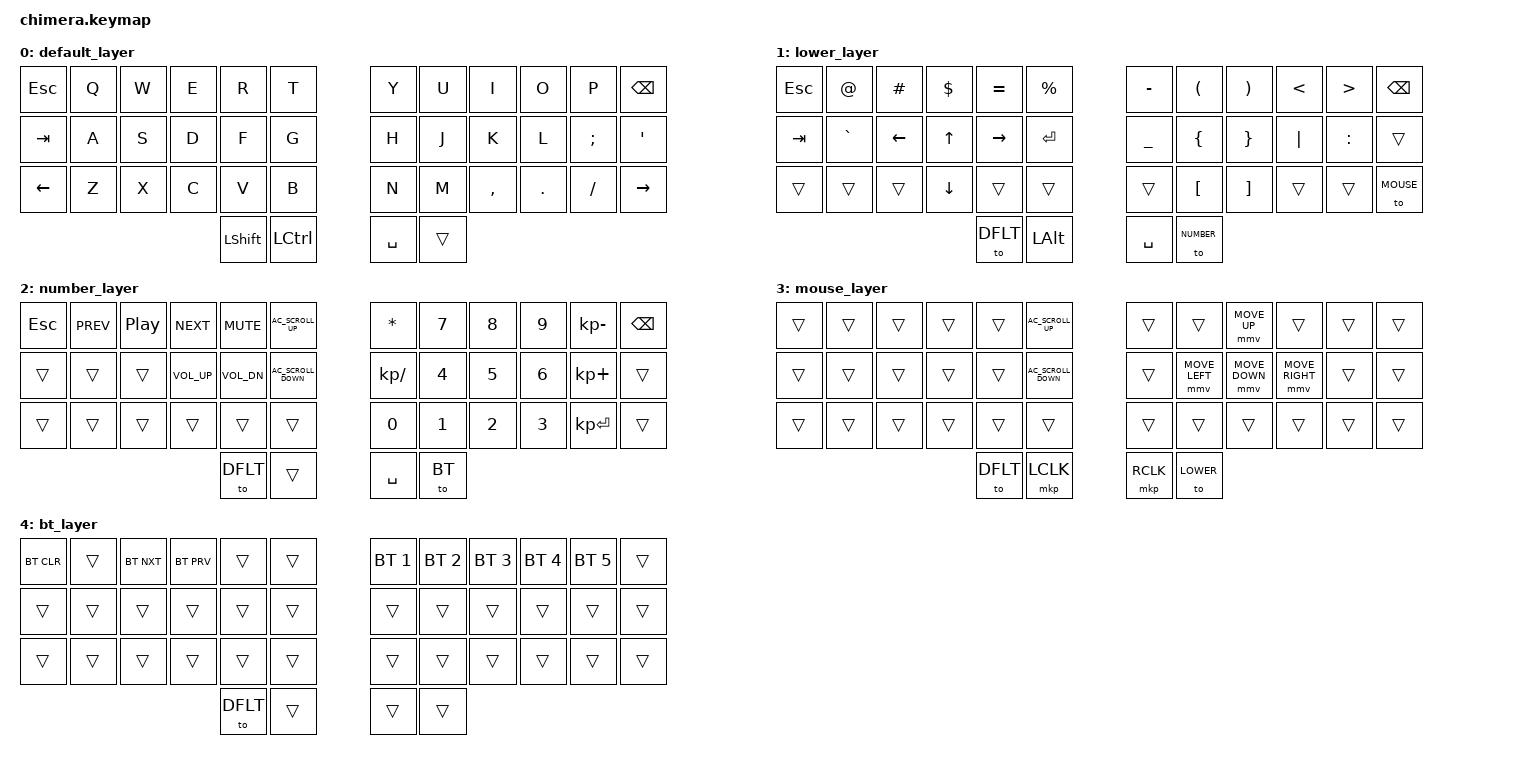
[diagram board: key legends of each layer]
/*
 * Copyright (c) 2020 The ZMK Contributors
 *
 * SPDX-License-Identifier: MIT
 */

#include <behaviors.dtsi>
#include <dt-bindings/zmk/keys.h>
#include <dt-bindings/zmk/bt.h>
#include <dt-bindings/zmk/outputs.h>
#include <dt-bindings/zmk/mouse.h>

#define DFLT    0
#define LOWER   1
#define NUMBER  2
#define MOUSE   3
#define BT      4


/ {
        keymap {
                compatible = "zmk,keymap";

                default_layer {
// -----------------------------------------------------------------------------------------
// |  ESC |  Q  |  W  |  E  |  R  |  T  |   |  Y  |  U   |  I  |  O  |  P  | BSPC |
// |  TAB |  A  |  S  |  D  |  F  |  G  |   |  H  |  J   |  K  |  L  |  ;  |  '   |
// | LEFT |  Z  |  X  |  C  |  V  |  B  |   |  N  |  M   |  ,  |  .  |  /  | RIGHT|
//                          | SHFT|CNTRL|   | SPC | L2  
                        bindings = <
   &kp ESC   &kp Q &kp W &kp E &kp R &kp T   &kp Y &kp U  &kp I     &kp O   &kp P    &kp BSPC
   &kp TAB &kp A &kp S &kp D &kp F &kp G   &kp H &kp J  &kp K     &kp L   &kp SEMI &kp SQT
   &kp LEFT &kp Z &kp X &kp C &kp V &kp B   &kp N &kp M  &kp COMMA &kp DOT &kp FSLH &kp RIGHT
                       &kp LSHFT &kp LCTRL   &kp SPACE &trans 
                        >;
                };
                lower_layer {
// -----------------------------------------------------------------------------------------
// |  ESC | ATSN| HASH| DLLR|EQUAL|PRCNT|   |MINUS| LPAR|RPAR |  LT |  GT | BSPC |
// |  TAB |GRAVE| LEFT|  UP |RIGHT| ENT |   |UNDER| LBRC|RBRC | PIPE|COLON|      |
// |      |     |     | DOWN|     |     |   |     | LBKT|RBKT |     |     | MOUSE|
//                          |  L1 | ALT |   | SPC |  L3 |
                        bindings = <
   &kp ESC    &kp AT   &kp HASH   &kp DLLR  &kp EQUAL   &kp PRCNT     &kp MINUS   &kp LPAR   &kp RPAR &kp LT  &kp GT &kp BSPC
   &kp TAB &kp GRAVE  &kp LEFT  &kp UP  &kp RIGHT  &kp ENTER  &kp UNDER  &kp LBRC &kp RBRC &kp PIPE &kp COLON &trans
   &trans  &trans       &trans   &kp DOWN       &trans    &trans   &trans   &kp LBKT   &kp RBKT &trans    &trans &to MOUSE
                                    &to DFLT     &kp LALT      &kp SPACE      &to NUMBER
                        >;
                };

                number_layer {
// -----------------------------------------------------------------------------------------
// |  ESC | PREV|  PP | NEXT| MUTE|S_UP |   |ASTRK|  7  |  8  |  9  |MINUS| BSPC |
// |      |     |     |VOLUP|VLDWN|S_DWN|   |SLASH|  4  |  5  |  6  | PLUS|      |
// |      |     |     |     |     |     |   |  0  |  1  |  2  |  3  | ENT |    |
//                          |  L1 |     |   | SPC |  L4 | 
                        bindings = <
   &kp ESC  &kp C_PREV  &kp C_PP  &kp C_NEXT  &kp C_MUTE &kp C_AC_SCROLL_UP  &kp ASTRK   &kp N7   &kp N8 &kp N9    &kp KP_MINUS &kp BSPC
   &trans  &trans  &trans  &kp C_VOL_UP  &kp C_VOL_DN &kp C_AC_SCROLL_DOWN  &kp KP_SLASH  &kp N4  &kp N5  &kp N6  &kp KP_PLUS &trans 
   &trans  &trans  &trans  &trans  &trans  &trans  &kp N0  &kp N1  &kp N2  &kp N3  &kp KP_ENTER  &trans
                                    &to DFLT     &trans       &kp SPACE      &to BT
                        >;
                };

                mouse_layer {
// -----------------------------------------------------------------------------------------
// |      |     |     |     |     |S_UP |   |     |     |M_UP |     |     |      |
// |      |     |     |     |     |S_DWN|   |     |M_LFT|M_DMN|M_RGH|     |      |
// |      |     |     |     |     |     |   |     |     |     |     |     |      |
//                          |  L1 |L_CLC|   |R_CLC|  L2 |
                        bindings = <
   &trans  &trans  &trans  &trans  &trans  &kp C_AC_SCROLL_UP  &trans  &trans  &mmv MOVE_UP  &trans  &trans &trans
   &trans  &trans  &trans  &trans  &trans  &kp C_AC_SCROLL_DOWN  &trans  &mmv MOVE_LEFT  &mmv MOVE_DOWN  &mmv MOVE_RIGHT  &trans &trans
   &trans  &trans  &trans  &trans  &trans  &trans  &trans  &trans  &trans  &trans  &trans  &trans
                                    &to DFLT     &mkp LCLK        &mkp RCLK     &to LOWER 
                        >;
                };

                bt_layer {
// -----------------------------------------------------------------------------------------
// |BT_CLR|     |BTNXT|BTPRV|     |     |   |  BT1|  BT2|  BT3|  BT4|  BT5|      |
// |      |     |     |     |     |     |   |     |     |     |     |     |      |
// |      |     |     |     |     |     |   |     |     |     |     |     |      |
//                          |     |     |   |     |  L1 | 
                        bindings = <
   &bt BT_CLR  &trans  &bt BT_NXT  &bt BT_PRV  &trans  &trans   &bt BT_SEL 1  &bt BT_SEL 2  &bt BT_SEL 3  &bt BT_SEL 4  &bt BT_SEL 5  &trans
   &trans  &trans  &trans  &trans  &trans  &trans  &trans  &trans  &trans  &trans  &trans  &trans  
   &trans  &trans  &trans  &trans  &trans  &trans  &trans  &trans  &trans  &trans  &trans  &trans 
                              &to DFLT   &trans   &trans   &trans
                        >;
                };
        };
};
